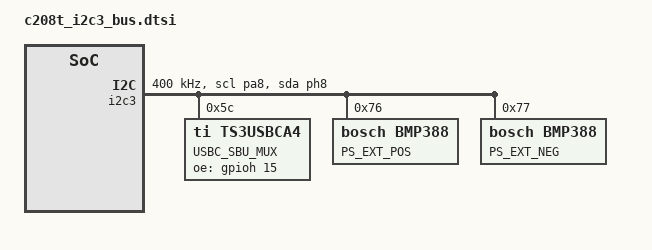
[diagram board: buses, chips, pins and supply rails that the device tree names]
/*
 * Copyright (c) 2024 Acme CPU
 *
 * C208T I2C3 bus has
 *		- Capacitive touch
 *		- Lidar sensor
 *		- APDS-9930
 *		- T3USBCA410 (SBU MUX)
 *		- PCA9632TK,118 
 *		- BMP388
 *		- BMP388
 */

 &i2c3 {
	pinctrl-0 = <&i2c3_scl_pa8 &i2c3_sda_ph8>;
	pinctrl-names = "default";
	status = "okay";
	clock-frequency = <I2C_BITRATE_FAST>;

/*
  	ctp: xxxx@38 {
		compatible = "abc,xxxx";
		reg = <0x38>;
		reset-gpios = <&gpioc 12 (GPIO_ACTIVE_HIGH)>;
		int-gpios = <&gpiod 2 (GPIO_ACTIVE_LOW | GPIO_PULL_UP)>;
  	};
*/

/*
  	lidar: vl53l4cd@52 {
		compatible = "st,vl53l4cd";
		reg = <0x52>;
  	};
*/

/*
	apds9930@39 {
		compatible = "avago,apds9930";
		reg = <0x39>;
		int-gpios = <&gpioi 10 (GPIO_ACTIVE_LOW | GPIO_PULL_UP)>;
	};
*/

 	usbc_sbu_mux: ts3usbca4@5c {
    	compatible = "ti,ts3usbca4";
    	reg = <0x5c>;
    	label = "USBC_SBU_MUX";
    	oe-gpios = <&gpioh 15 (GPIO_ACTIVE_HIGH)>;
	};
	
	/*
	led_drv: pca9632@62 {
    	compatible = "nxp,pca9632";
    	reg = <0x62>;
    	label = "UI_LEDS";
  	};
	*/
	
	p121_ps_ext: bmp388@76 {
    	compatible = "bosch,bmp388";
    	reg = <0x76>;
    	label = "PS_EXT_POS";
    	odr = "25";			/* data rate = 25Hz */
   		osr-press = <1>;	/* pressure oversampling = No */
    	osr-temp = <1>;		/* temperature oversampling = No */
    	iir-filter = <0>;	/* iir filter = default val */
	};

	p122_ps_ext: bmp388@77 {
    	compatible = "bosch,bmp388";
    	reg = <0x77>;
    	label = "PS_EXT_NEG";
    	odr = "25";			/* data rate = 25Hz */
    	osr-press = <1>;	/* pressure oversampling = No */
    	osr-temp = <1>;		/* temperature oversampling = No */
    	iir-filter = <0>;	/* iir filter = default val */
	};
};
